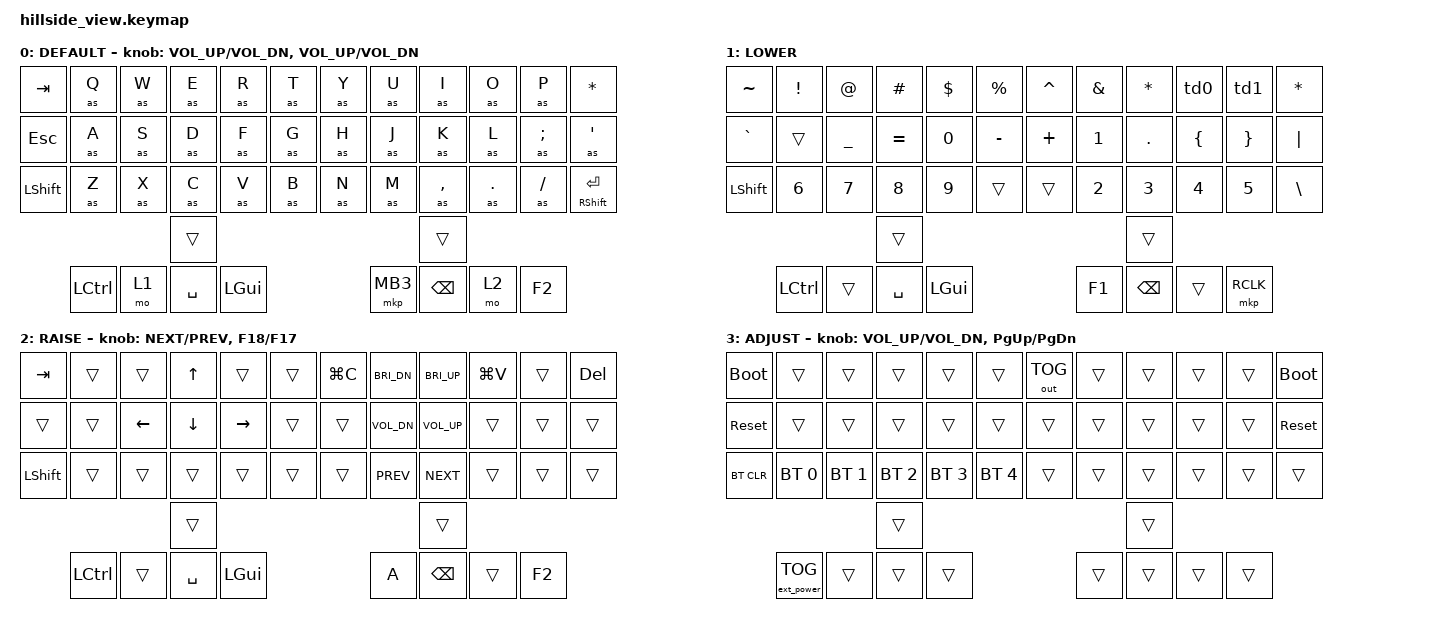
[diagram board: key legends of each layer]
#include <behaviors.dtsi>
#include <dt-bindings/zmk/bt.h>
#include <dt-bindings/zmk/ext_power.h>
#include <dt-bindings/zmk/keys.h>
#include <dt-bindings/zmk/mouse.h>
#include <dt-bindings/zmk/outputs.h>

/* Defines */
// Left bottom row pinky 2nd column

#ifndef LB5

#define LB5 24

#endif

// Right bottom row pinky 2nd column
#ifndef RB5

#define RB5 35

#endif

// Layes. If you need to modify layers it's easier to refer to them via names, sich as SYM for symbol and NUM for numbrs.
// Alias your layers with names in the section below

#define DEF 0
#define LOWER 1
#define RAISE 2
#define ADJUST 3
#define NAV_LEFT  &mt_home 0   LEFT    // tap: left  | long-tap: beginning of line
#define NAV_RIGHT &mt_end 0    RIGHT   // tap: right | long-tap: end       of line
#define NAV_UP    &mt LC(HOME) UP      // tap: up    | long-tap: beginning of document
#define NAV_DOWN  &mt LC(END)  DOWN    // tap: down  | long-tap: end       of document
#define NAV_BSPC  &mt LC(BSPC) BSPC    // tap: bspc  | long-tap: delete word backward
#define NAV_DEL   &mt LC(DEL)  DEL     // tap: del   | long-tap: delete word forward
#define QUICK_TAP_MS 175

/* Global settings */
// Q: What are those things starting with &? 
// A: Keywords that start with & are "behaviors". Behaviors are the main way to configure your keymap. 
//    The most common is called &kp which stands for key press. There several built-in bevaiors and also unlimitted number of ones you can create.
// Q: What are available built-in bevaiors?
// A: Here is a list of most common ones:
//   &kp - key press
//   &mo - momentary turn on the layer
//   &to - toggle a layer
//   &lt - layer tap; tap for a key pres and hold for a layer
//   &mt - mod tap; hold for modifier, tap for a key press
//   &sk - sticky key; sticky modifier

&sk {
    release-after-ms = <600>;
    quick-release;
};

&mt { tapping-term-ms = <400>; };

&lt {
    flavor = "balanced";
    tapping-term-ms = <150>;
};

/ {
    conditional_layers {
        compatible = "zmk,conditional-layers";

        tri_layer {
            if-layers = <LOWER RAISE>;
            then-layer = <ADJUST>;
        };
    };

    behaviors {
        as_ht: autoshift_hold_tap {
            compatible = "zmk,behavior-hold-tap";
            label = "AUTOSHIFT_HOLD_TAP";
            #binding-cells = <2>;
            tapping-term-ms = <200>;
            bindings = <&shifted>, <&kp>;
        };
    };

    macros {
        shifted: macro_shifted_kp {
            #binding-cells = <1>;
            label = "MACRO_SHIFTED_KP";
            compatible = "zmk,behavior-macro-one-param";
            bindings =
                <&macro_press>,
                <&kp LSHFT &macro_param_1to1>,
                <&macro_tap>,
                <&kp MACRO_PLACEHOLDER>,
                <&macro_release>,
                <&kp LSHFT>;
        };

        as: autoshift {
            compatible = "zmk,behavior-macro-one-param";
            #binding-cells = <1>;
            label = "AUTOSHIFT_KP";
            bindings =
                <&macro_press>,
                <&macro_param_1to1 &macro_param_1to2 &as_ht MACRO_PLACEHOLDER MACRO_PLACEHOLDER>,
                <&macro_pause_for_release>,
                <&macro_release>,
                <&macro_param_1to1 &macro_param_1to2 &as_ht MACRO_PLACEHOLDER MACRO_PLACEHOLDER>;
        };

        td0: tap_dance_0 {
            compatible = "zmk,behavior-tap-dance";
            label = "TAP_DANCE_1";
            #binding-cells = <0>;
            tapping-term-ms = <200>;
            bindings = <&kp LPAR>, <&kp LBKT>, <&kp LBRC>;
        };

        td1: tap_dance_1 {
            compatible = "zmk,behavior-tap-dance";
            label = "TAP_DANCE_2";
            #binding-cells = <0>;
            tapping-term-ms = <200>;
            bindings = <&kp RPAR>, <&kp RBKT>, <&kp RBRC>;
        };

        ht: hold_tap {
            compatible = "zmk,behavior-hold-tap";
            label = "HOLD_TAP";
            #binding-cells = <2>;
            tapping_term_ms = <200>;
            quick_tap_ms = <200>;
            flavor = "tap-preferred";
            bindings = <&kp>, <&kp>;
        };
    };

    keymap {
        compatible = "zmk,keymap";

        default_layer {
            label = "DEFAULT";
            bindings = <
&kp TAB    &as Q      &as W  &as E      &as R     &as T      &as Y  &as U     &as I      &as O    &as P     &kp STAR
&kp ESC    &as A      &as S  &as D      &as F     &as G      &as H  &as J     &as K      &as L    &as SEMI  &as SQT
&kp LSHFT  &as Z      &as X  &as C      &as V     &as B      &as N  &as M     &as COMMA  &as DOT  &as FSLH  &mt RSHFT ENTER
                             &trans                                           &trans
           &kp LCTRL  &mo 1  &kp SPACE  &kp LGUI                    &mkp MB3  &kp BSPC   &mo 2    &kp F2
            >;

            // Bindings for encoders, if you don't have encoders you can remove this line from all layers. If you leave it here it won't affect your keymap.

            sensor-bindings = <&inc_dec_kp C_VOL_UP C_VOL_DN &inc_dec_kp C_VOL_UP C_VOL_DN>;
        };

        lower_layer {
            label = "LOWER";
            bindings = <
&kp TILDE  &kp EXCL   &kp AT     &kp HASH   &kp DLLR  &kp PRCNT      &kp CARET  &kp AMPS  &kp STAR  &td0      &td1       &kp STAR
&kp GRAVE  &trans     &kp UNDER  &kp EQUAL  &kp N0    &kp MINUS      &kp PLUS   &kp N1    &kp DOT   &kp LBRC  &kp RBRC   &kp PIPE
&kp LSHFT  &kp N6     &kp N7     &kp N8     &kp N9    &trans         &trans     &kp N2    &kp N3    &kp N4    &kp N5     &kp BSLH
                                 &trans                                                   &trans
           &kp LCTRL  &trans     &kp SPACE  &kp LGUI                            &kp F1    &kp BSPC  &trans    &mkp RCLK
            >;
        };

        raise_layer {
            label = "RAISE";
            bindings = <
&kp TAB     &trans     &trans    &kp UP     &trans     &trans      &kp LG(C)  &kp C_BRI_DN  &kp C_BRI_UP  &kp LG(V)  &trans  &kp DEL
&trans      &trans     &kp LEFT  &kp DOWN   &kp RIGHT  &trans      &trans     &kp C_VOL_DN  &kp C_VOL_UP  &trans     &trans  &trans
&kp LSHIFT  &trans     &trans    &trans     &trans     &trans      &trans     &kp C_PREV    &kp C_NEXT    &trans     &trans  &trans
                                 &trans                                                     &trans
            &kp LCTRL  &trans    &kp SPACE  &kp LGUI                          &kp A         &kp BSPC      &trans     &kp F2
            >;

            sensor-bindings = <&inc_dec_kp C_NEXT C_PREV &inc_dec_kp F18 F17>;
        };

        adj_layer {
            label = "ADJUST";
            bindings = <
&bootloader  &trans             &trans        &trans        &trans        &trans            &out OUT_TOG  &trans  &trans  &trans  &trans  &bootloader
&sys_reset   &trans             &trans        &trans        &trans        &trans            &trans        &trans  &trans  &trans  &trans  &sys_reset
&bt BT_CLR   &bt BT_SEL 0       &bt BT_SEL 1  &bt BT_SEL 2  &bt BT_SEL 3  &bt BT_SEL 4      &trans        &trans  &trans  &trans  &trans  &trans
                                              &trans                                                              &trans
             &ext_power EP_TOG  &trans        &trans        &trans                                        &trans  &trans  &trans  &trans
            >;

            sensor-bindings = <&inc_dec_kp C_VOL_UP C_VOL_DN &inc_dec_kp PG_UP PG_DN>;
        };
    };
};
